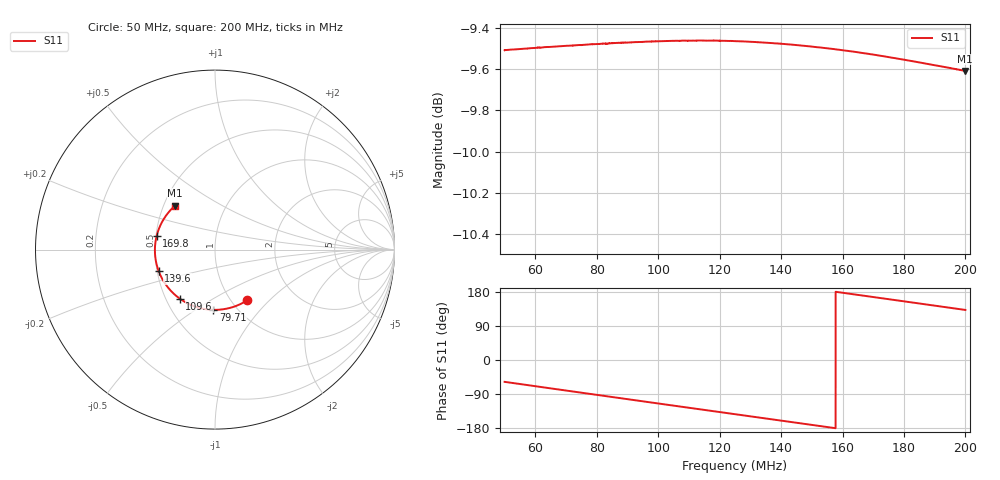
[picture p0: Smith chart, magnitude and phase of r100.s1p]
! COPPER MOUNTAIN TECHNOLOGIES, PLANAR TR1300/1, 00071119, 20.2.2/1.0
! Date: 11/21/2023 7:09:37 PM
! Data: Format [Calibration Info]
! Freq  S11: Re/Im F1
# HZ S RI R 50
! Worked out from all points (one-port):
!   12288 points, 50 MHz to 200 MHz, reference 50 ohm
!   lowest |S11| = -9.6 dB at 200 MHz (marker M1), VSWR 1.99, Z = 28.7 + j15.8 ohm
!   |S11| at or under -10 dB: nowhere
!   S11 on the Smith chart (normalised r, x): 50 MHz: 1.18, -0.75; 79.71 MHz: 0.78, -0.59; 109.6 MHz: 0.59, -0.36; 139.6 MHz: 0.51, -0.14; 169.8 MHz: 0.50, +0.09; 200 MHz: 0.57, +0.32
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5e7  0.1792 -0.2827
5.297876e7  0.162 -0.293
5.975421e7  0.1209 -0.3125
6.875153e7  0.0631 -0.3295
7.412306e7  0.0276 -0.3345
7.971433e7  -0.00977 -0.3357
8.750305e7  -0.0614 -0.3304
9.217873e7  -0.0918 -0.3234
9.678115e7  -0.1209 -0.3138
1.015057e8  -0.1498 -0.3012
1.062546e8  -0.1775 -0.2858
1.09563e8  -0.1958 -0.2737
1.17486e8  -0.236 -0.2399
1.250061e8  -0.2687 -0.2023
1.322455e8  -0.2946 -0.162
1.396069e8  -0.3147 -0.1176
1.437576e8  -0.323 -0.0915
1.485676e8  -0.33 -0.0604
1.532311e8  -0.3338 -0.0299
1.578335e8  -0.3348 0.000481
1.625092e8  -0.333 0.0313
1.697729e8  -0.3245 0.0784
1.754375e8  -0.3132 0.114
1.812607e8  -0.2975 0.149
1.899284e8  -0.2669 0.1972
1.958004e8  -0.2417 0.2265
1.999634e8  -0.2218 0.2454
2e8  -0.2217 0.2456
